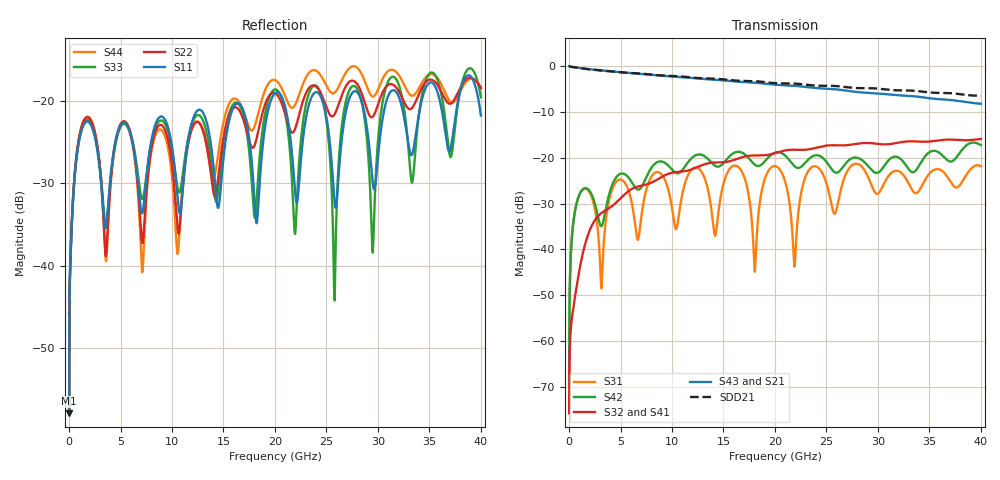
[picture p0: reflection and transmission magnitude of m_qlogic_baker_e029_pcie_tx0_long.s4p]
! freq	real(S11)	imag(S11)	real(S12)	imag(S12)	real(S13)	imag(S13)
!  real(S14)	imag(S14)
!  real(S21)	imag(S21)	real(S22)	imag(S22)	real(S23)	imag(S23)
!  real(S24)	imag(S24)
!  real(S31)	imag(S31)	real(S32)	imag(S32)	real(S33)	imag(S33)
!  real(S34)	imag(S34)
!  real(S41)	imag(S41)	real(S42)	imag(S42)	real(S43)	imag(S43)
!  real(S44)	imag(S44)
!port1: p1  port2: p2  port3: p3  port4: p4
#  MHz  S  RI  R 50
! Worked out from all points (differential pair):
!   8000 points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, 5 MHz to 40 GHz, reference 50 ohm
!   strongest paths, dB at 5 MHz, 10.01 GHz, 20 GHz, 30 GHz, 40 GHz:
!     S43: 0.0, -2.2, -4.0, -6.0, -8.2
!     S21: 0.0, -2.3, -4.1, -6.0, -8.4
!     S32: -75.8, -23.3, -19.0, -17.0, -15.9
!     S41: -75.8, -23.3, -19.0, -16.7, -15.7
!     S42: -69.6, -22.6, -18.9, -23.3, -17.2
!     S31: -69.5, -31.0, -21.8, -27.8, -21.9
!   taken as a pair (ports 3,1 in; 4,2 out), SDD21 dB: 0.0, -2.1, -3.7, -4.9, -6.5
!   lowest |S11| = -57.9 dB at 5 MHz (marker M1), VSWR 1.00, Z = 50.1 + j0.0027 ohm
!   |S11| at or under -10 dB: start of sweep to end of sweep
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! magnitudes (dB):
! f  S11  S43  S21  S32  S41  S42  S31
! 5 MHz  -57.9  0.0  0.0  -75.8  -75.8  -69.6  -69.5
! 1.045 GHz  -24.4  -0.4  -0.4  -44.0  -44.0  -27.8  -27.8
! 6.055 GHz  -24.4  -1.5  -1.5  -26.9  -26.8  -25.2  -29.5
! 24 GHz  -18.9  -4.8  -4.8  -17.8  -17.8  -19.4  -21.9
! 25.78 GHz  -32.1  -5.0  -5.1  -17.3  -17.2  -23.1  -32.3
! 27.42 GHz  -19.2  -5.5  -5.5  -17.1  -17.0  -20.2  -21.8
! 40 GHz  -21.7  -8.2  -8.4  -15.9  -15.7  -17.2  -21.9
